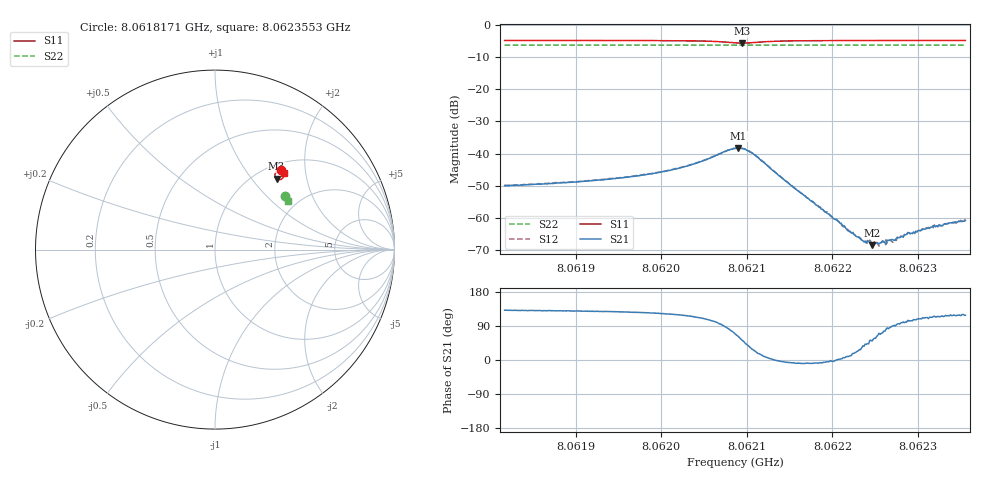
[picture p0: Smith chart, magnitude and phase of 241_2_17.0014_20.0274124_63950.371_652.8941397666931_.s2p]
#  HZ  S  RI  R  50.00
! Rohde & Schwarz Vector Network Analyzer
! Rohde-Schwarz,ZNB20-2Port,1311601062101988,3.16
! Created: UTC 3/20/2024, 11:02:53 PM
! freq[Hz]  re:S11  im:S11  re:S21  im:S21  re:S12  im:S12  re:S22  im:S22
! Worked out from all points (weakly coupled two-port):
!   401 points, 8.0618171 GHz to 8.0623553 GHz, reference 50 ohm
!   highest |S21| = -38.22 dB at 8.0620902 GHz (marker M1); lowest = -68.5 dB at 8.0622463 GHz (marker M2)
!   lowest |S11| = -5.6 dB at 8.0620943 GHz (marker M3), VSWR 3.19, Z = 61.9 + j67.3 ohm
!   |S11| at or under -10 dB: nowhere
!   |S22| runs from -6.3 to -6.2 dB; largest |S21 - S12| = 0.00092
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8.06181707e9  0.3649 0.4454  -0.0021 0.00238  -0.00197 0.00251  0.3886 0.296
8.06190723e9  0.3717 0.4393  -0.00231 0.00287  -0.00216 0.00299  0.3919 0.2916
8.06195836e9  0.3759 0.4348  -0.00255 0.00341  -0.00237 0.00361  0.3937 0.289
8.06199738e9  0.3797 0.4295  -0.00279 0.00426  -0.00256 0.00446  0.395 0.2868
8.0620364e9  0.3833 0.4192  -0.00287 0.00616  -0.00251 0.00636  0.3962 0.2845
8.06208619e9  0.3575 0.3896  0.00427 0.0112  0.00501 0.011  0.3961 0.2813
8.06209022e9  0.3504 0.3911  0.00581 0.0108  0.00653 0.0103  0.396 0.2814
8.06209426e9  0.3434 0.3947  0.00732 0.00946  0.00782 0.0092  0.3959 0.2815
8.06210772e9  0.334 0.4164  0.00882 0.00443  0.00909 0.0039  0.3963 0.2819
8.06217634e9  0.3661 0.4386  0.00176 -0.000271  0.00177 -0.000397  0.4002 0.2792
8.06220729e9  0.3721 0.4366  0.000876 3.63e-05  0.000871 -4.53e-05  0.4014 0.2775
8.0622194e9  0.3739 0.4356  0.000618 0.000109  0.000604 9.92e-05  0.4018 0.277
8.0622342e9  0.3759 0.4348  0.000381 0.000241  0.000417 0.000168  0.4023 0.2763
8.06223958e9  0.3766 0.4343  0.000303 0.000267  0.000352 0.00025  0.4026 0.2759
8.06224631e9  0.3773 0.4337  0.000243 0.000288  0.000237 0.000284  0.4029 0.2755
8.06225304e9  0.3779 0.4334  0.00017 0.000369  0.000191 0.00034  0.4031 0.2753
8.06226649e9  0.3793 0.4325  4.28e-05 0.000444  9.53e-05 0.000443  0.4034 0.2745
8.06227188e9  0.3797 0.4322  -1.17e-05 0.000449  3.96e-05 0.000453  0.4037 0.2741
8.06228937e9  0.3813 0.431  -0.000128 0.000575  -0.000101 0.000575  0.4042 0.2733
8.06230686e9  0.3828 0.43  -0.000233 0.000624  -0.000205 0.000643  0.4048 0.2725
8.06231897e9  0.3837 0.4294  -0.000327 0.000679  -0.00028 0.000726  0.4052 0.2718
8.0623553e9  0.3865 0.4272  -0.000427 0.000803  -0.000437 0.000847  0.4065 0.27
